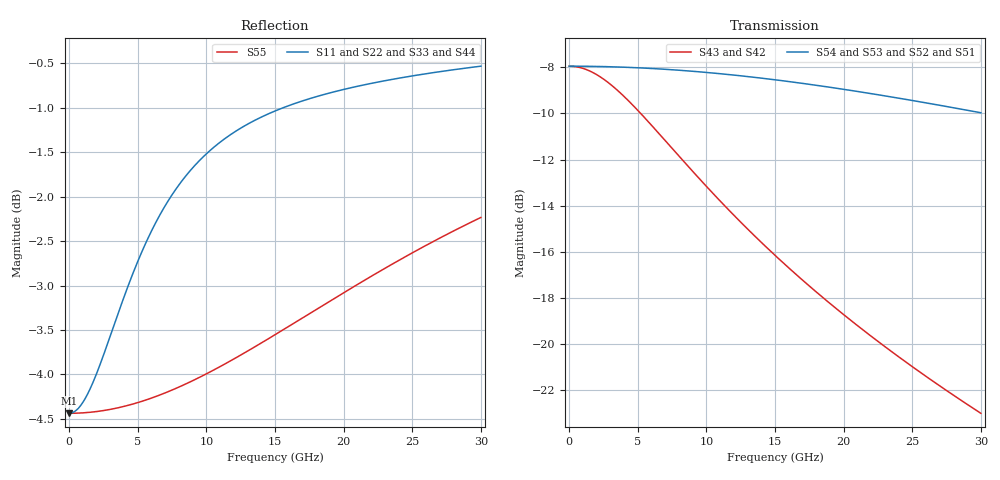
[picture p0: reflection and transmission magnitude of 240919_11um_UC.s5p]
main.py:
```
import numpy as np
import csv
import pandas as pd
import matplotlib.pyplot as plt
import skrf as rf
from skrf import Network, Frequency
from numpy.linalg import inv
import PDN_gen
np.set_printoptions(threshold=np.inf)


#################################################################################
#################################### INPUTS #####################################
#################################################################################

# Main execution

PDN_name = 'gaudi'
int_N, int_M = 1000, 1000

snp1 = rf.Network('data/S_para/240919_11um_UC.s5p')
uc1 = rf.network.s2z(snp1._s, z0=50)

uc = [uc1]
PDN_map = np.ones((int_N, int_M))

PDN, new_map = PDN_gen.pdn_predefined(int_N, int_M, uc, PDN_map, PDN_name)

np.save(f'final_model/{int_N}_by_{int_M}_PDN_{PDN_name}.npy', PDN)
np.save(f'final_model/final_map_{PDN_name}.npy', new_map)

freq = np.array(snp1.f)
"""
ver = pd.read_csv('verification.csv', sep=',', header=0).values

plt.figure(1)
plt.plot(freq, np.abs(PDN[:, 0, 0]), label='port 1', color='red')
plt.plot(freq, ver[:, 1], label='ads', color='blue')
plt.xscale('log')
plt.yscale('log')
plt.savefig(f'final_model/{int_N}_by_{int_M}_PDN_{PDN_name}.png')
"""
```
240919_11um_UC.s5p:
! Created Thu Sep 19 17:35:40 2024
# hz S ma R 50
! 5 Port Network Data from SP1.SP block
! freq  magS11  angS11  magS12  angS12  magS13  angS13  magS14  angS14
!  magS15  angS15
!  magS21  angS21  magS22  angS22  magS23  angS23
!  magS24  angS24  magS25  angS25
!  magS31  angS31  magS32  angS32
!  magS33  angS33  magS34  angS34  magS35  angS35
!  magS41  angS41
!  magS42  angS42  magS43  angS43  magS44  angS44  magS45  angS45
!  magS51  angS51  magS52  angS52  magS53  angS53  magS54  angS54
!  magS55  angS55
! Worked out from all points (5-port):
!   1001 points, 10 Hz to 30 GHz, reference 50 ohm
!   strongest paths, dB at 10 Hz, 7.5 GHz, 15 GHz, 22.5 GHz, 30 GHz:
!     S54: -8.0, -8.1, -8.5, -9.2, -10.0
!     S53: -8.0, -8.1, -8.5, -9.2, -10.0
!     S52: -8.0, -8.1, -8.5, -9.2, -10.0
!     S51: -8.0, -8.1, -8.5, -9.2, -10.0
!     S43: -8.0, -11.5, -16.1, -19.9, -23.0
!     S42: -8.0, -11.5, -16.1, -19.9, -23.0
!   lowest |S11| = -4.4 dB at 10 Hz (marker M1), VSWR 4.00, Z = 12.5 + j2.87e-15 ohm
!   |S11| at or under -10 dB: nowhere
